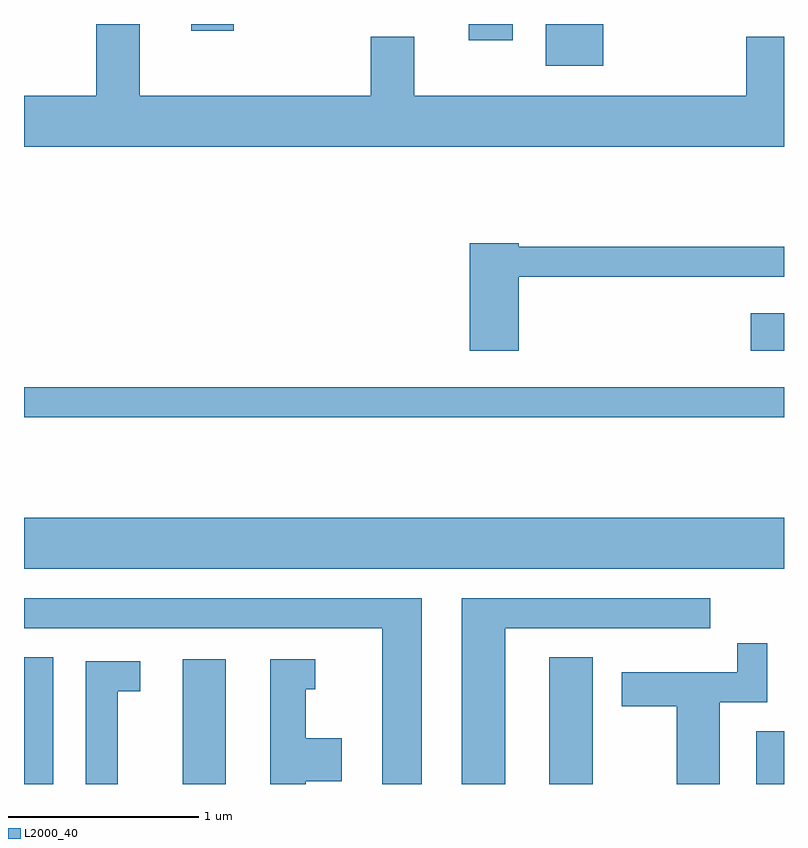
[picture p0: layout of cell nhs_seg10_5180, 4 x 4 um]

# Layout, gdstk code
import gdstk
lib = gdstk.Library(unit=1e-6, precision=1e-09)
def R(c, l, rs):  # rectangles x0, y0, x1, y1
    for r in rs: c.add(gdstk.rectangle(r[:2], r[2:], *l))
def P(c, l, *ps):  # polygons
    for p in ps: c.add(gdstk.Polygon(p, *l))
L2000_40 = (2000, 40)

nhs_seg10_5180 = lib.new_cell('nhs_seg10_5180')
R(nhs_seg10_5180, L2000_40, [(337.611,2150.522,337.764,2151.189), (338.446,2150.522,338.674,2151.179), (340.376,2150.522,340.604,2151.189), (341.466,2150.522,341.611,2150.799), (337.611,2151.656,341.611,2151.924), (337.611,2152.451,341.611,2152.609), (341.436,2152.801,341.611,2152.999), (340.356,2154.301,340.659,2154.522), (339.951,2154.436,340.184,2154.522), (338.491,2154.486,338.714,2154.522)])
P(nhs_seg10_5180, L2000_40, [(341.611,2154.454),(341.411,2154.454),(341.411,2154.144),(339.664,2154.144),(339.664,2154.454),(339.436,2154.454),(339.436,2154.144),(338.219,2154.144),(338.219,2154.522),(337.991,2154.522),(337.991,2154.144),(337.611,2154.144),(337.611,2153.876),(341.611,2153.876)],
  [(340.214,2153.191),(341.611,2153.191),(341.611,2153.349),(340.214,2153.349),(340.214,2153.369),(339.956,2153.369),(339.956,2152.801),(340.214,2152.801)],
  [(340.144,2151.341),(341.223,2151.341),(341.223,2151.499),(339.916,2151.499),(339.916,2150.522),(340.144,2150.522)],
  [(339.704,2151.499),(337.611,2151.499),(337.611,2151.341),(339.496,2151.341),(339.496,2150.522),(339.704,2150.522)],
  [(341.274,2150.951),(341.524,2150.951),(341.524,2151.263),(341.366,2151.263),(341.366,2151.109),(340.756,2151.109),(340.756,2150.931),(341.046,2150.931),(341.046,2150.522),(341.274,2150.522)],
  [(339.094,2150.536),(339.284,2150.536),(339.284,2150.764),(339.094,2150.764),(339.094,2151.021),(339.143,2151.021),(339.143,2151.179),(338.906,2151.179),(338.906,2150.522),(339.094,2150.522)],
  [(338.104,2151.011),(338.223,2151.011),(338.223,2151.169),(337.936,2151.169),(337.936,2150.522),(338.104,2150.522)])

lib.write_gds('nhs_seg10_5180.gds')
